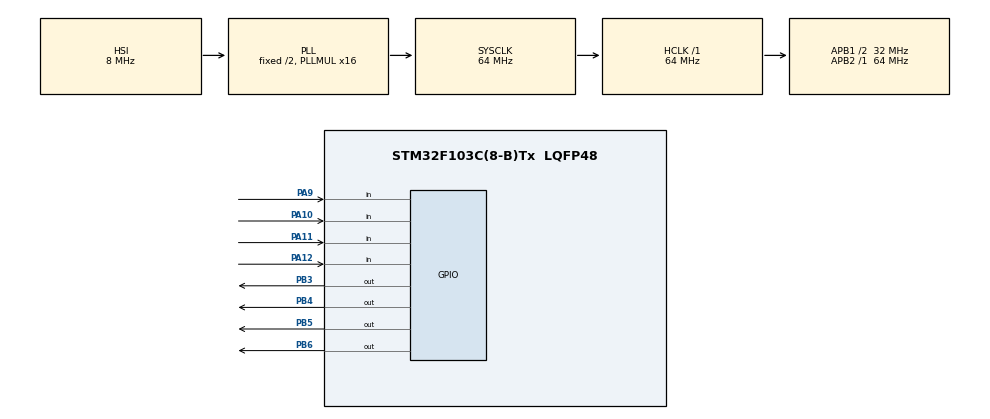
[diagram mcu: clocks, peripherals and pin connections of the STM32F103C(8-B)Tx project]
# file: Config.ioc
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FREERTOS.Tasks01=defaultTask,24,128,StartDefaultTask,Default,NULL,Dynamic,NULL,NULL
Mcu.Family=STM32F1
Mcu.Name=STM32F103C(8-B)Tx
Mcu.Package=LQFP48
NVIC.PriorityGroup=NVIC_PRIORITYGROUP_4
PA10.GPIO_PuPd=GPIO_PULLUP
PA10.Signal=GPIO_Input
PA11.Signal=GPIO_Input
PA12.GPIO_PuPd=GPIO_PULLUP
PA12.Signal=GPIO_Input
PA13.Mode=Serial_Wire
PA13.Signal=SYS_JTMS-SWDIO
PA14.Mode=Serial_Wire
PA14.Signal=SYS_JTCK-SWCLK
PA9.Signal=GPIO_Input
PB3.Signal=GPIO_Output
PB4.Signal=GPIO_Output
PB5.Signal=GPIO_Output
PB6.Signal=GPIO_Output
ProjectManager.HeapSize=0x200
ProjectManager.StackSize=0x400
ProjectManager.TargetToolchain=STM32CubeIDE
RCC.AHBFreq_Value=64000000
RCC.APB1CLKDivider=RCC_HCLK_DIV2
RCC.APB1Freq_Value=32000000
RCC.APB1TimFreq_Value=64000000
RCC.APB2Freq_Value=64000000
RCC.APB2TimFreq_Value=64000000
RCC.HCLKFreq_Value=64000000
RCC.PLLMUL=RCC_PLL_MUL16
RCC.SYSCLKFreq_VALUE=64000000
RCC.SYSCLKSource=RCC_SYSCLKSOURCE_PLLCLK
RCC.USBFreq_Value=64000000
VP_FREERTOS_VS_CMSIS_V2.Mode=CMSIS_V2
board=custom

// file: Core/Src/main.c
/* USER CODE BEGIN Header */
/**
  ******************************************************************************
  * @file           : main.c
  * @brief          : Main program body
  ******************************************************************************
  * @attention
  *
  * <h2><center>&copy; Copyright (c) 2025 STMicroelectronics.
  * All rights reserved.</center></h2>
  *
  * This software component is licensed by ST under BSD 3-Clause license,
  * the "License"; You may not use this file except in compliance with the
  * License. You may obtain a copy of the License at:
  *                        opensource.org/licenses/BSD-3-Clause
  *
  ******************************************************************************
  */
/* USER CODE END Header */
#include "main.h"
#include "cmsis_os.h"

/* USER CODE BEGIN PD */
#define ON_3 HAL_GPIO_WritePin(GPIOB, GPIO_PIN_3, 1);
#define OFF_3 HAL_GPIO_WritePin(GPIOB, GPIO_PIN_3, 0);
#define ON_12 HAL_GPIO_ReadPin(GPIOA, GPIO_PIN_12) == 0
#define OFF_12 HAL_GPIO_ReadPin(GPIOA, GPIO_PIN_12) == 1
#define ON_4 HAL_GPIO_WritePin(GPIOB, GPIO_PIN_4, 1);
#define OFF_4 HAL_GPIO_WritePin(GPIOB, GPIO_PIN_4, 0);
#define ON_11 HAL_GPIO_ReadPin(GPIOA, GPIO_PIN_11) == 0
#define OFF_11 HAL_GPIO_ReadPin(GPIOA, GPIO_PIN_11) == 1
#define ON_5 HAL_GPIO_WritePin(GPIOB, GPIO_PIN_5, 1);
#define OFF_5 HAL_GPIO_WritePin(GPIOB, GPIO_PIN_5, 0);
#define ON_10 HAL_GPIO_ReadPin(GPIOA, GPIO_PIN_10) == 0
#define OFF_10 HAL_GPIO_ReadPin(GPIOA, GPIO_PIN_10) == 1
#define ON_6 HAL_GPIO_WritePin(GPIOB, GPIO_PIN_6, 1);
#define OFF_6 HAL_GPIO_WritePin(GPIOB, GPIO_PIN_6, 0);
#define ON_9 HAL_GPIO_ReadPin(GPIOA, GPIO_PIN_9) == 0
#define OFF_9 HAL_GPIO_ReadPin(GPIOA, GPIO_PIN_9) == 1
/* USER CODE END PD */

/* Definitions for defaultTask */
osThreadId_t defaultTaskHandle;
const osThreadAttr_t defaultTask_attributes = {
  .name = "defaultTask",
  .priority = (osPriority_t) osPriorityNormal,
  .stack_size = 128 * 4
};

void SystemClock_Config(void);
static void MX_GPIO_Init(void);
void StartDefaultTask(void *argument);

int main(void)
{

  /* MCU Configuration--------------------------------------------------------*/

  /* Reset of all peripherals, Initializes the Flash interface and the Systick. */
  HAL_Init();

  /* Configure the system clock */
  SystemClock_Config();

  /* Initialize all configured peripherals */
  MX_GPIO_Init();

  /* Init scheduler */
  osKernelInitialize();

  /* Create the thread(s) */
  /* creation of defaultTask */
  defaultTaskHandle = osThreadNew(StartDefaultTask, NULL, &defaultTask_attributes);

  /* Start scheduler */
  osKernelStart();

  /* We should never get here as control is now taken by the scheduler */
  /* Infinite loop */
  while (1)
  {

  }
}

void SystemClock_Config(void)
{
  RCC_OscInitTypeDef RCC_OscInitStruct = {0};
  RCC_ClkInitTypeDef RCC_ClkInitStruct = {0};

  /** Initializes the RCC Oscillators according to the specified parameters
  * in the RCC_OscInitTypeDef structure.
  */
  RCC_OscInitStruct.OscillatorType = RCC_OSCILLATORTYPE_HSI;
  RCC_OscInitStruct.HSIState = RCC_HSI_ON;
  RCC_OscInitStruct.HSICalibrationValue = RCC_HSICALIBRATION_DEFAULT;
  RCC_OscInitStruct.PLL.PLLState = RCC_PLL_ON;
  RCC_OscInitStruct.PLL.PLLSource = RCC_PLLSOURCE_HSI_DIV2;
  RCC_OscInitStruct.PLL.PLLMUL = RCC_PLL_MUL16;
  if (HAL_RCC_OscConfig(&RCC_OscInitStruct) != HAL_OK)
  {
    Error_Handler();
  }
  /** Initializes the CPU, AHB and APB buses clocks
  */
  RCC_ClkInitStruct.ClockType = RCC_CLOCKTYPE_HCLK|RCC_CLOCKTYPE_SYSCLK
                              |RCC_CLOCKTYPE_PCLK1|RCC_CLOCKTYPE_PCLK2;
  RCC_ClkInitStruct.SYSCLKSource = RCC_SYSCLKSOURCE_PLLCLK;
  RCC_ClkInitStruct.AHBCLKDivider = RCC_SYSCLK_DIV1;
  RCC_ClkInitStruct.APB1CLKDivider = RCC_HCLK_DIV2;
  RCC_ClkInitStruct.APB2CLKDivider = RCC_HCLK_DIV1;

  if (HAL_RCC_ClockConfig(&RCC_ClkInitStruct, FLASH_LATENCY_2) != HAL_OK)
  {
    Error_Handler();
  }
}

static void MX_GPIO_Init(void)
{
  GPIO_InitTypeDef GPIO_InitStruct = {0};

  /* GPIO Ports Clock Enable */
  __HAL_RCC_GPIOA_CLK_ENABLE();
  __HAL_RCC_GPIOB_CLK_ENABLE();

  /*Configure GPIO pin Output Level */
  HAL_GPIO_WritePin(GPIOB, GPIO_PIN_3|GPIO_PIN_4|GPIO_PIN_5|GPIO_PIN_6, GPIO_PIN_RESET);

  /*Configure GPIO pins : PA9 PA11 */
  GPIO_InitStruct.Pin = GPIO_PIN_9|GPIO_PIN_11;
  GPIO_InitStruct.Mode = GPIO_MODE_INPUT;
  GPIO_InitStruct.Pull = GPIO_NOPULL;
  HAL_GPIO_Init(GPIOA, &GPIO_InitStruct);

  /*Configure GPIO pins : PA10 PA12 */
  GPIO_InitStruct.Pin = GPIO_PIN_10|GPIO_PIN_12;
  GPIO_InitStruct.Mode = GPIO_MODE_INPUT;
  GPIO_InitStruct.Pull = GPIO_PULLUP;
  HAL_GPIO_Init(GPIOA, &GPIO_InitStruct);

  /*Configure GPIO pins : PB3 PB4 PB5 PB6 */
  GPIO_InitStruct.Pin = GPIO_PIN_3|GPIO_PIN_4|GPIO_PIN_5|GPIO_PIN_6;
  GPIO_InitStruct.Mode = GPIO_MODE_OUTPUT_PP;
  GPIO_InitStruct.Pull = GPIO_NOPULL;
  GPIO_InitStruct.Speed = GPIO_SPEED_FREQ_LOW;
  HAL_GPIO_Init(GPIOB, &GPIO_InitStruct);

}

void StartDefaultTask(void *argument)
{
  /* USER CODE BEGIN 5 */
  /* Infinite loop */
  for(;;)
  {
	if(ON_12){
		ON_3;
		ON_4;
		ON_5;
		ON_6;
		osDelay(200);
		ON_3;
		ON_4;
		ON_5;
		ON_6;
		osDelay(200);
	}
	if(ON_11){
			ON_3;
			ON_4;
			ON_5;
			ON_6;
			osDelay(200);
			ON_3;
			ON_4;
			ON_5;
			ON_6;
			osDelay(200);
		}
	if(ON_10){
			ON_3;
			ON_4;
			ON_5;
			ON_6;
			osDelay(200);
			ON_3;
			ON_4;
			ON_5;
			ON_6;
			osDelay(200);
		}
	if(ON_9){
			ON_3;
			ON_4;
			ON_5;
			ON_6;
			osDelay(200);
			ON_3;
			ON_4;
			ON_5;
			ON_6;
			osDelay(200);
		}

    osDelay(1);
  }
  /* USER CODE END 5 */
}

void Error_Handler(void)
{
  __disable_irq();
  while (1)
  {
  }
}

/************************ (C) COPYRIGHT STMicroelectronics *****END OF FILE****/
